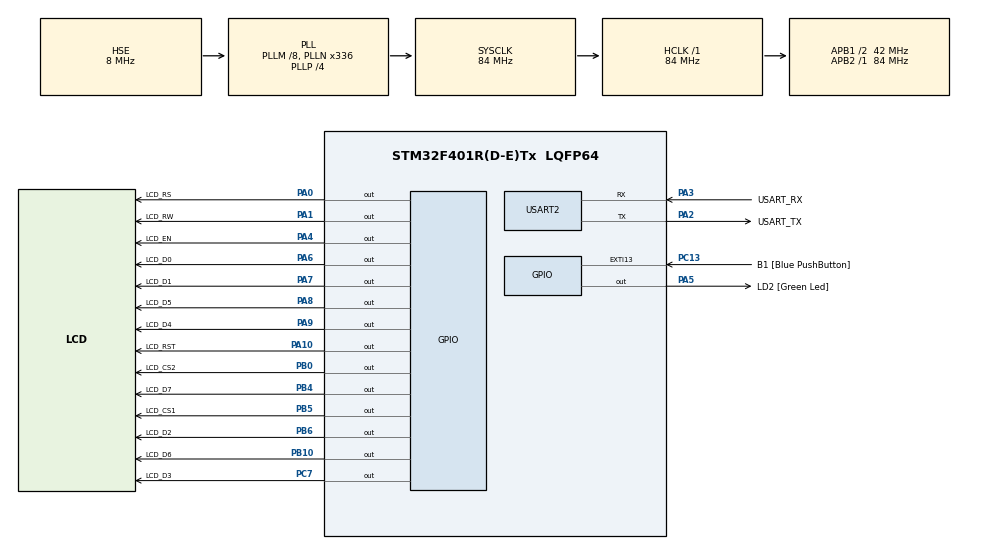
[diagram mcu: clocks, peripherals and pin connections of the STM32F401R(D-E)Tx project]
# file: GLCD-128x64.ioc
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FREERTOS.Tasks01=LCD_Test_Task,16,128,Start_LCD_Test_Task,Default,NULL,Dynamic,NULL,NULL;BlinkLED_Task,8,128,Start_BlinkLED_Task,Default,NULL,Dynamic,NULL,NULL;LCD_Intro_Task,24,128,Start_LCD_Intro_Task,Default,NULL,Dynamic,NULL,NULL
Mcu.Family=STM32F4
Mcu.Name=STM32F401R(D-E)Tx
Mcu.Package=LQFP64
NVIC.PriorityGroup=NVIC_PRIORITYGROUP_4
NVIC.TIM1_TRG_COM_TIM11_IRQn=true\:0\:0\:false\:false\:true\:false\:false\:true
NVIC.TimeBase=TIM1_TRG_COM_TIM11_IRQn
NVIC.TimeBaseIP=TIM11
NVIC.USART2_IRQn=true\:0\:0\:false\:false\:true\:false\:true\:true
PA0-WKUP.GPIO_Label=LCD_RS
PA0-WKUP.GPIO_PuPd=GPIO_PULLDOWN
PA0-WKUP.GPIO_Speed=GPIO_SPEED_FREQ_VERY_HIGH
PA0-WKUP.Signal=GPIO_Output
PA1.GPIO_Label=LCD_RW
PA1.GPIO_Speed=GPIO_SPEED_FREQ_VERY_HIGH
PA1.Signal=GPIO_Output
PA10.GPIO_Label=LCD_RST
PA10.GPIO_PuPd=GPIO_NOPULL
PA10.GPIO_Speed=GPIO_SPEED_FREQ_VERY_HIGH
PA10.Signal=GPIO_Output
PA13.GPIO_Label=TMS
PA13.Mode=Serial_Wire
PA13.Signal=SYS_JTMS-SWDIO
PA14.GPIO_Label=TCK
PA14.Mode=Serial_Wire
PA14.Signal=SYS_JTCK-SWCLK
PA2.GPIO_Label=USART_TX
PA2.GPIO_Mode=GPIO_MODE_AF_PP
PA2.GPIO_PuPd=GPIO_NOPULL
PA2.GPIO_Speed=GPIO_SPEED_FREQ_LOW
PA2.Mode=Asynchronous
PA2.Signal=USART2_TX
PA3.GPIO_Label=USART_RX
PA3.GPIO_Mode=GPIO_MODE_AF_PP
PA3.GPIO_PuPd=GPIO_NOPULL
PA3.GPIO_Speed=GPIO_SPEED_FREQ_LOW
PA3.Mode=Asynchronous
PA3.Signal=USART2_RX
PA4.GPIO_Label=LCD_EN
PA4.GPIO_PuPd=GPIO_NOPULL
PA4.GPIO_Speed=GPIO_SPEED_FREQ_VERY_HIGH
PA4.PinState=GPIO_PIN_SET
PA4.Signal=GPIO_Output
PA5.GPIO_Label=LD2 [Green Led]
PA5.GPIO_Mode=GPIO_MODE_OUTPUT_PP
PA5.GPIO_PuPd=GPIO_NOPULL
PA5.GPIO_Speed=GPIO_SPEED_FREQ_LOW
PA5.Signal=GPIO_Output
PA6.GPIO_Label=LCD_D0
PA6.GPIO_Speed=GPIO_SPEED_FREQ_VERY_HIGH
PA6.Signal=GPIO_Output
PA7.GPIO_Label=LCD_D1
PA7.GPIO_Speed=GPIO_SPEED_FREQ_VERY_HIGH
PA7.Signal=GPIO_Output
PA8.GPIO_Label=LCD_D5
PA8.GPIO_Speed=GPIO_SPEED_FREQ_VERY_HIGH
PA8.Signal=GPIO_Output
PA9.GPIO_Label=LCD_D4
PA9.GPIO_Speed=GPIO_SPEED_FREQ_VERY_HIGH
PA9.Signal=GPIO_Output
PB0.GPIO_Label=LCD_CS2
PB0.GPIO_PuPd=GPIO_PULLUP
PB0.GPIO_Speed=GPIO_SPEED_FREQ_VERY_HIGH
PB0.PinState=GPIO_PIN_SET
PB0.Signal=GPIO_Output
PB10.GPIO_Label=LCD_D6
PB10.GPIO_Speed=GPIO_SPEED_FREQ_VERY_HIGH
PB10.Signal=GPIO_Output
PB3.GPIO_Label=SWO
PB3.Signal=SYS_JTDO-SWO
PB4.GPIO_Label=LCD_D7
PB4.GPIO_Speed=GPIO_SPEED_FREQ_VERY_HIGH
PB4.Signal=GPIO_Output
PB5.GPIO_Label=LCD_CS1
PB5.GPIO_PuPd=GPIO_PULLUP
PB5.GPIO_Speed=GPIO_SPEED_FREQ_VERY_HIGH
PB5.PinState=GPIO_PIN_SET
PB5.Signal=GPIO_Output
PB6.GPIO_Label=LCD_D2
PB6.GPIO_Speed=GPIO_SPEED_FREQ_VERY_HIGH
PB6.Signal=GPIO_Output
PC13-ANTI_TAMP.GPIO_Label=B1 [Blue PushButton]
PC13-ANTI_TAMP.GPIO_ModeDefaultEXTI=GPIO_MODE_IT_FALLING
PC13-ANTI_TAMP.GPIO_PuPd=GPIO_NOPULL
PC13-ANTI_TAMP.Signal=GPXTI13
PC14-OSC32_IN.Mode=LSE-External-Oscillator
PC14-OSC32_IN.Signal=RCC_OSC32_IN
PC15-OSC32_OUT.Mode=LSE-External-Oscillator
PC15-OSC32_OUT.Signal=RCC_OSC32_OUT
PC7.GPIO_Label=LCD_D3
PC7.GPIO_Speed=GPIO_SPEED_FREQ_VERY_HIGH
PC7.Signal=GPIO_Output
PH0\ -\ OSC_IN.Mode=HSE-External-Clock-Source
PH0\ -\ OSC_IN.Signal=RCC_OSC_IN
PH1\ -\ OSC_OUT.Mode=HSE-External-Clock-Source
PH1\ -\ OSC_OUT.Signal=RCC_OSC_OUT
ProjectManager.HeapSize=0x200
ProjectManager.StackSize=0x400
ProjectManager.TargetToolchain=STM32CubeIDE
RCC.48MHZClocksFreq_Value=48000000
RCC.AHBFreq_Value=84000000
RCC.APB1CLKDivider=RCC_HCLK_DIV2
RCC.APB1Freq_Value=42000000
RCC.APB1TimFreq_Value=84000000
RCC.APB2Freq_Value=84000000
RCC.APB2TimFreq_Value=84000000
RCC.CortexFreq_Value=84000000
RCC.EnbaleCSS=true
RCC.HCLKFreq_Value=84000000
RCC.HSE_VALUE=8000000
RCC.HSI_VALUE=16000000
RCC.PLLM=8
RCC.PLLN=336
RCC.PLLP=RCC_PLLP_DIV4
RCC.PLLQ=7
RCC.PLLSourceVirtual=RCC_PLLSOURCE_HSE
RCC.SYSCLKFreq_VALUE=84000000
RCC.SYSCLKSource=RCC_SYSCLKSOURCE_PLLCLK
RCC.VCOOutputFreq_Value=336000000
USART2.VirtualMode=VM_ASYNC
VP_FREERTOS_VS_CMSIS_V2.Mode=CMSIS_V2
VP_SYS_VS_tim11.Mode=TIM11
board=NUCLEO-F401RE

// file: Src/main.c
/* USER CODE BEGIN Header */
/**
  ******************************************************************************
  * @file           : main.c
  * @brief          : Main program body
  ******************************************************************************
  * @attention
  *
  * <h2><center>&copy; Copyright (c) 2020 STMicroelectronics.
  * All rights reserved.</center></h2>
  *
  * This software component is licensed by ST under BSD 3-Clause license,
  * the "License"; You may not use this file except in compliance with the
  * License. You may obtain a copy of the License at:
  *                        opensource.org/licenses/BSD-3-Clause
  *
  ******************************************************************************
  */
/* USER CODE END Header */
#include "main.h"
#include "cmsis_os.h"
#include "usart.h"
#include "gpio.h"

/* USER CODE BEGIN Includes */
#include "GLCD_L0.h"
#include "GLCD_L1.h"
#include "GLCD_L2.h"
#include "stdio.h"
/* USER CODE END Includes */

/* USER CODE BEGIN PV */
// GLCD_L0_TypeDef tmp_glcd;

// // Temporary Variables for Debugging
// char tmp_str[] = "12345678901234567890";
// uint8_t tmp_cntr = 0;
/* USER CODE END PV */

void SystemClock_Config(void);
void MX_FREERTOS_Init(void);
/* USER CODE BEGIN PFP */
// void tmp_wait_for_busy(GLCD_L0_HALF_TypeDef hlf_)
// {
//   while(GLCD_L2_IsDispBusy(&tmp_glcd, hlf_) == GLCD_L2_DispStatBusy_Busy)
//   {
//     HAL_UART_Transmit_IT(&huart2, (uint8_t*)"Hi\r\n", 4);
//   }
// }
// void tmp_check_status(void)
// {
//   sprintf(tmp_str, "R%02X\r\n", GLCD_L2_ReadDispStatus(&tmp_glcd, GLCD_L2_HALF_Right));
//   HAL_UART_Transmit(&huart2, (uint8_t*)tmp_str, 5, 200);
//   sprintf(tmp_str, "L%02X\r\n", GLCD_L2_ReadDispStatus(&tmp_glcd, GLCD_L2_HALF_Left));
//   HAL_UART_Transmit(&huart2, (uint8_t*)tmp_str, 5, 200);
// }
/* USER CODE END PFP */

int main(void)
{

  /* MCU Configuration--------------------------------------------------------*/

  /* Reset of all peripherals, Initializes the Flash interface and the Systick. */
  HAL_Init();

  /* Configure the system clock */
  SystemClock_Config();

  /* Initialize all configured peripherals */
  MX_GPIO_Init();
  MX_USART2_UART_Init();
  /* USER CODE BEGIN 2 */
  // tmp_glcd.DB_Ports[0] = LCD_D0_GPIO_Port;
  // tmp_glcd.DB_Ports[1] = LCD_D1_GPIO_Port;
  // tmp_glcd.DB_Ports[2] = LCD_D2_GPIO_Port;
  // tmp_glcd.DB_Ports[3] = LCD_D3_GPIO_Port;
  // tmp_glcd.DB_Ports[4] = LCD_D4_GPIO_Port;
  // tmp_glcd.DB_Ports[5] = LCD_D5_GPIO_Port;
  // tmp_glcd.DB_Ports[6] = LCD_D6_GPIO_Port;
  // tmp_glcd.DB_Ports[7] = LCD_D7_GPIO_Port;

  // tmp_glcd.DB_Pins[0] = LCD_D0_Pin;
  // tmp_glcd.DB_Pins[1] = LCD_D1_Pin;
  // tmp_glcd.DB_Pins[2] = LCD_D2_Pin;
  // tmp_glcd.DB_Pins[3] = LCD_D3_Pin;
  // tmp_glcd.DB_Pins[4] = LCD_D4_Pin;
  // tmp_glcd.DB_Pins[5] = LCD_D5_Pin;
  // tmp_glcd.DB_Pins[6] = LCD_D6_Pin;
  // tmp_glcd.DB_Pins[7] = LCD_D7_Pin;

  // tmp_glcd.CS1_Port = LCD_CS1_GPIO_Port;
  // tmp_glcd.CS1_Pin  = LCD_CS1_Pin;

  // tmp_glcd.CS2_Port = LCD_CS2_GPIO_Port;
  // tmp_glcd.CS2_Pin  = LCD_CS2_Pin;

  // tmp_glcd.RS_Port  = LCD_RS_GPIO_Port;
  // tmp_glcd.RS_Pin   = LCD_RS_Pin;

  // tmp_glcd.RW_Port  = LCD_RW_GPIO_Port;
  // tmp_glcd.RW_Pin   = LCD_RW_Pin;

  // tmp_glcd.EN_Port  = LCD_EN_GPIO_Port;
  // tmp_glcd.EN_Pin   = LCD_EN_Pin;

  // tmp_glcd.RST_Port = LCD_RST_GPIO_Port;
  // tmp_glcd.RST_Pin  = LCD_RST_Pin;

  // tmp_glcd.Mode     = GLCD_L0_Mode_Write;

  // // Some Tests for GLCD_L0
  // HAL_UART_Transmit_IT(&huart2, (uint8_t*)"LCD Init Finished\r\n", 19);

  // // Perform a Reset procedure
  // GLCD_L2_FullInit(&tmp_glcd, GLCD_L2_DispColor_Black);

  // // Turning on and off and read the Status Reg
  // GLCD_L1_Disp_OnOff(&tmp_glcd, GLCD_L0_HALF_Right, GLCD_L1_Disp_On); // LCD On
  // GLCD_L1_Disp_OnOff(&tmp_glcd, GLCD_L0_HALF_Left, GLCD_L1_Disp_Off); // LCD Off
  // tmp_check_status();
  // GLCD_L1_Disp_OnOff(&tmp_glcd, GLCD_L0_HALF_Left, GLCD_L1_Disp_On); // LCD On
  // HAL_Delay(1000);

  // tmp_check_status();

  // // Ser Address Regs
  // GLCD_L2_GotoXYZ(&tmp_glcd, GLCD_L2_HALF_Both, 0, 0, 0);

  // for (size_t j = 0; j < 8; j++)
  // {
  //   for (size_t i = 0; i < 64; i++)
  //   {
  //     GLCD_L2_WriteByteXYZ(&tmp_glcd, GLCD_L2_HALF_Both, (uint8_t)(0x55), j, i, i>>1);
  //     HAL_Delay(45);
  //   }
  // }
  // HAL_Delay(2000);
  // GLCD_L2_ClearDisplay(&tmp_glcd, GLCD_L2_HALF_Both);
  // HAL_Delay(2000);
  /* USER CODE END 2 */

  /* Init scheduler */
  osKernelInitialize();  /* Call init function for freertos objects (in freertos.c) */
  MX_FREERTOS_Init();
  /* Start scheduler */
  osKernelStart();

  /* We should never get here as control is now taken by the scheduler */
  /* Infinite loop */
  /* USER CODE BEGIN WHILE */
  while (1)
  {

    // tmp_cntr++;
    // GLCD_L2_GotoZ(&tmp_glcd, GLCD_L2_HALF_Both, tmp_cntr%64);
    // // Show image on LCD
    // for (size_t j = 0; j < 4; j++)
    // {
    //   GLCD_L2_GotoX(&tmp_glcd, GLCD_L2_HALF_Both, j); // x
    //   tmp_wait_for_busy(GLCD_L0_HALF_Right);
    //   for (size_t i = 0; i < 64; i++)
    //   {
    //     GLCD_L2_WriteByte(&tmp_glcd, GLCD_L2_HALF_Left, (uint8_t)(i+ tmp_cntr));
    //     GLCD_L2_WriteByte(&tmp_glcd, GLCD_L2_HALF_Right, (uint8_t)(i+ tmp_cntr+ 64));
    //   }
    // }

    /*
    // Blink the LED once
    HAL_GPIO_TogglePin(LD2_GPIO_Port, LD2_Pin);
    HAL_Delay(300);
    HAL_GPIO_TogglePin(LD2_GPIO_Port, LD2_Pin);
    HAL_Delay(300);
    */
    /* USER CODE END WHILE */

  }
}

void SystemClock_Config(void)
{
  RCC_OscInitTypeDef RCC_OscInitStruct = {0};
  RCC_ClkInitTypeDef RCC_ClkInitStruct = {0};

  /** Configure the main internal regulator output voltage
  */
  __HAL_RCC_PWR_CLK_ENABLE();
  __HAL_PWR_VOLTAGESCALING_CONFIG(PWR_REGULATOR_VOLTAGE_SCALE2);
  /** Initializes the RCC Oscillators according to the specified parameters
  * in the RCC_OscInitTypeDef structure.
  */
  RCC_OscInitStruct.OscillatorType = RCC_OSCILLATORTYPE_HSE;
  RCC_OscInitStruct.HSEState = RCC_HSE_BYPASS;
  RCC_OscInitStruct.PLL.PLLState = RCC_PLL_ON;
  RCC_OscInitStruct.PLL.PLLSource = RCC_PLLSOURCE_HSE;
  RCC_OscInitStruct.PLL.PLLM = 8;
  RCC_OscInitStruct.PLL.PLLN = 336;
  RCC_OscInitStruct.PLL.PLLP = RCC_PLLP_DIV4;
  RCC_OscInitStruct.PLL.PLLQ = 7;
  if (HAL_RCC_OscConfig(&RCC_OscInitStruct) != HAL_OK)
  {
    Error_Handler();
  }
  /** Initializes the CPU, AHB and APB buses clocks
  */
  RCC_ClkInitStruct.ClockType = RCC_CLOCKTYPE_HCLK|RCC_CLOCKTYPE_SYSCLK
                              |RCC_CLOCKTYPE_PCLK1|RCC_CLOCKTYPE_PCLK2;
  RCC_ClkInitStruct.SYSCLKSource = RCC_SYSCLKSOURCE_PLLCLK;
  RCC_ClkInitStruct.AHBCLKDivider = RCC_SYSCLK_DIV1;
  RCC_ClkInitStruct.APB1CLKDivider = RCC_HCLK_DIV2;
  RCC_ClkInitStruct.APB2CLKDivider = RCC_HCLK_DIV1;

  if (HAL_RCC_ClockConfig(&RCC_ClkInitStruct, FLASH_LATENCY_2) != HAL_OK)
  {
    Error_Handler();
  }
  /** Enables the Clock Security System
  */
  HAL_RCC_EnableCSS();
}

void HAL_TIM_PeriodElapsedCallback(TIM_HandleTypeDef *htim)
{
  if (htim->Instance == TIM11) {
    HAL_IncTick();
  }
}

void Error_Handler(void)
{
}

/************************ (C) COPYRIGHT STMicroelectronics *****END OF FILE****/

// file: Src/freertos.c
/* USER CODE BEGIN Header */
/**
  ******************************************************************************
  * File Name          : freertos.c
  * Description        : Code for freertos applications
  ******************************************************************************
  * @attention
  *
  * <h2><center>&copy; Copyright (c) 2020 STMicroelectronics.
  * All rights reserved.</center></h2>
  *
  * This software component is licensed by ST under Ultimate Liberty license
  * SLA0044, the "License"; You may not use this file except in compliance with
  * the License. You may obtain a copy of the License at:
  *                             www.st.com/SLA0044
  *
  ******************************************************************************
  */
/* USER CODE END Header */

#include "FreeRTOS.h"
#include "task.h"
#include "main.h"
#include "cmsis_os.h"

/* USER CODE BEGIN Includes */
#include "GLCD_L2.h"
/* USER CODE END Includes */

/* USER CODE BEGIN Variables */
GLCD_L0_TypeDef tmp_glcd;

// Temporary Variables for Debugging
char tmp_str[] = "12345678901234567890";
uint8_t tmp_cntr = 0;
/* USER CODE END Variables */
/* Definitions for LCD_Test_Task */
osThreadId_t LCD_Test_TaskHandle;
const osThreadAttr_t LCD_Test_Task_attributes = {
  .name = "LCD_Test_Task",
  .priority = (osPriority_t) osPriorityNormal,
  .stack_size = 128 * 4
};
/* Definitions for BlinkingLED_Tas */
osThreadId_t BlinkingLED_TasHandle;
const osThreadAttr_t BlinkingLED_Tas_attributes = {
  .name = "BlinkingLED_Tas",
  .priority = (osPriority_t) osPriorityBelowNormal,
  .stack_size = 128 * 4
};

void Start_LCD_Test_Task(void *argument);
void Start_BlinkingLED_Task(void *argument);

void MX_FREERTOS_Init(void); /* (MISRA C 2004 rule 8.1) */

void MX_FREERTOS_Init(void) {
  /* USER CODE BEGIN Init */
  tmp_glcd.DB_Ports[0] = LCD_D0_GPIO_Port;
  tmp_glcd.DB_Ports[1] = LCD_D1_GPIO_Port;
  tmp_glcd.DB_Ports[2] = LCD_D2_GPIO_Port;
  tmp_glcd.DB_Ports[3] = LCD_D3_GPIO_Port;
  tmp_glcd.DB_Ports[4] = LCD_D4_GPIO_Port;
  tmp_glcd.DB_Ports[5] = LCD_D5_GPIO_Port;
  tmp_glcd.DB_Ports[6] = LCD_D6_GPIO_Port;
  tmp_glcd.DB_Ports[7] = LCD_D7_GPIO_Port;

  tmp_glcd.DB_Pins[0] = LCD_D0_Pin;
  tmp_glcd.DB_Pins[1] = LCD_D1_Pin;
  tmp_glcd.DB_Pins[2] = LCD_D2_Pin;
  tmp_glcd.DB_Pins[3] = LCD_D3_Pin;
  tmp_glcd.DB_Pins[4] = LCD_D4_Pin;
  tmp_glcd.DB_Pins[5] = LCD_D5_Pin;
  tmp_glcd.DB_Pins[6] = LCD_D6_Pin;
  tmp_glcd.DB_Pins[7] = LCD_D7_Pin;

  tmp_glcd.CS1_Port = LCD_CS1_GPIO_Port;
  tmp_glcd.CS1_Pin  = LCD_CS1_Pin;

  tmp_glcd.CS2_Port = LCD_CS2_GPIO_Port;
  tmp_glcd.CS2_Pin  = LCD_CS2_Pin;

  tmp_glcd.RS_Port  = LCD_RS_GPIO_Port;
  tmp_glcd.RS_Pin   = LCD_RS_Pin;

  tmp_glcd.RW_Port  = LCD_RW_GPIO_Port;
  tmp_glcd.RW_Pin   = LCD_RW_Pin;

  tmp_glcd.EN_Port  = LCD_EN_GPIO_Port;
  tmp_glcd.EN_Pin   = LCD_EN_Pin;

  tmp_glcd.RST_Port = LCD_RST_GPIO_Port;
  tmp_glcd.RST_Pin  = LCD_RST_Pin;

  tmp_glcd.Mode     = GLCD_L0_Mode_Write;
  /* USER CODE END Init */

  /* Create the thread(s) */
  /* creation of LCD_Test_Task */
  LCD_Test_TaskHandle = osThreadNew(Start_LCD_Test_Task, NULL, &LCD_Test_Task_attributes);

  /* creation of BlinkingLED_Tas */
  BlinkingLED_TasHandle = osThreadNew(Start_BlinkingLED_Task, NULL, &BlinkingLED_Tas_attributes);

}

void Start_LCD_Test_Task(void *argument)
{
  /* USER CODE BEGIN Start_LCD_Test_Task */
  /* Infinite loop */
  // Perform a Reset procedure
  GLCD_L2_FullInit(&tmp_glcd, GLCD_L2_DispColor_Black);

  // Turning on and off and read the Status Reg
  GLCD_L1_Disp_OnOff(&tmp_glcd, GLCD_L0_HALF_Right, GLCD_L1_Disp_On); // LCD On
  GLCD_L1_Disp_OnOff(&tmp_glcd, GLCD_L0_HALF_Left, GLCD_L1_Disp_Off); // LCD Off
  // tmp_check_status();
  GLCD_L1_Disp_OnOff(&tmp_glcd, GLCD_L0_HALF_Left, GLCD_L1_Disp_On); // LCD On
  osDelay(1000);

  // tmp_check_status();

  // Ser Address Regs
  GLCD_L2_GotoXYZ(&tmp_glcd, GLCD_L2_HALF_Both, 0, 0, 0);

  for (size_t j = 0; j < 8; j++)
  {
    for (size_t i = 0; i < 64; i++)
    {
      GLCD_L2_WriteByteXYZ(&tmp_glcd, GLCD_L2_HALF_Both, (uint8_t)(0x55), j, i, i>>1);
      osDelay(45);
    }
  }
  osDelay(2000);
  GLCD_L2_ClearDisplay(&tmp_glcd, GLCD_L2_HALF_Both);
  osDelay(2000);

  for(;;)
  {
    tmp_cntr++;
    GLCD_L2_GotoZ(&tmp_glcd, GLCD_L2_HALF_Both, tmp_cntr%64);
    // Show image on LCD
    for (size_t j = 0; j < 4; j++)
    {
      GLCD_L2_GotoX(&tmp_glcd, GLCD_L2_HALF_Both, j);
      for (size_t i = 0; i < 64; i++)
      {
        GLCD_L2_WriteByte(&tmp_glcd, GLCD_L2_HALF_Left, (uint8_t)(i+ tmp_cntr));
        GLCD_L2_WriteByte(&tmp_glcd, GLCD_L2_HALF_Right, (uint8_t)(i+ tmp_cntr+ 64));
      }
    }
    osDelay(1);
  }
  /* USER CODE END Start_LCD_Test_Task */
}

void Start_BlinkingLED_Task(void *argument)
{
  /* USER CODE BEGIN Start_BlinkingLED_Task */
  /* Infinite loop */
  for(;;)
  {
    HAL_GPIO_TogglePin(LD2_GPIO_Port, LD2_Pin);
    osDelay(50);
  }
  osThreadTerminate(BlinkingLED_TasHandle);
  /* USER CODE END Start_BlinkingLED_Task */
}

/************************ (C) COPYRIGHT STMicroelectronics *****END OF FILE****/
